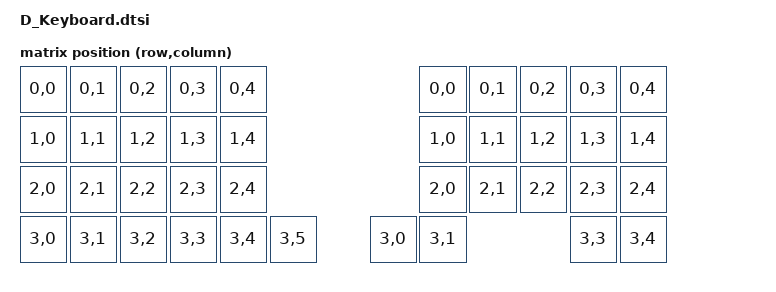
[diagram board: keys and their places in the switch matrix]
#include <dt-bindings/zmk/matrix_transform.h>
#include <input/processors.dtsi>
#include <dt-bindings/zmk/input_transform.h>
#include <physical_layouts.dtsi>

/ {
    chosen {
        zmk,kscan = &kscan0;
        zmk,matrix_transform = &default_transform;
        zmk,physical-layout = &default_layout;
    };

    default_transform: keymap_transform_0 {
        compatible = "zmk,matrix-transform";
        columns = <6>; // 片側の物理最大列数(左手の6列)に合わせる
        rows = <4>;
        map = <
            /* 左手 (Col 0-4) */                       /* 右手 (Col 0-4 + offset 6) */
            RC(0,0) RC(0,1) RC(0,2) RC(0,3) RC(0,4)                    RC(0,0) RC(0,1) RC(0,2) RC(0,3) RC(0,4) 
            RC(1,0) RC(1,1) RC(1,2) RC(1,3) RC(1,4)                    RC(1,0) RC(1,1) RC(1,2) RC(1,3) RC(1,4) 
            RC(2,0) RC(2,1) RC(2,2) RC(2,3) RC(2,4)                    RC(2,0) RC(2,1) RC(2,2) RC(2,3) RC(2,4) 
            RC(3,0) RC(3,1) RC(3,2) RC(3,3) RC(3,4) RC(3,5)    RC(3,0) RC(3,1)                 RC(3,3) RC(3,4)
        >;
    };

    kscan0: kscan {
        compatible = "zmk,kscan-gpio-matrix";
        label = "KSCAN";
        diode-direction = "col2row";
        wakeup-source;
    };

   default_layout: default_layout {
        compatible = "zmk,physical-layout";
        display-name = "default layout";
        transform = <&default_transform>;
        kscan = <&kscan0>;

        keys  //                     w   h    x    y     rot    rx    ry
            = <&key_physical_attrs 100 100    0  100       0     0     0>
            , <&key_physical_attrs 100 100  100  100       0     0     0>
            , <&key_physical_attrs 100 100  200  100       0     0     0>
            , <&key_physical_attrs 100 100  300  100       0     0     0>
            , <&key_physical_attrs 100 100  400  100       0     0     0>
            , <&key_physical_attrs 100 100  800  100       0     0     0>
            , <&key_physical_attrs 100 100  900  100       0     0     0>
            , <&key_physical_attrs 100 100 1000  100       0     0     0>
            , <&key_physical_attrs 100 100 1100  100       0     0     0>
            , <&key_physical_attrs 100 100 1200  100       0     0     0>
            , <&key_physical_attrs 100 100    0  200       0     0     0>
            , <&key_physical_attrs 100 100  100  200       0     0     0>
            , <&key_physical_attrs 100 100  200  200       0     0     0>
            , <&key_physical_attrs 100 100  300  200       0     0     0>
            , <&key_physical_attrs 100 100  400  200       0     0     0>
            , <&key_physical_attrs 100 100  800  200       0     0     0>
            , <&key_physical_attrs 100 100  900  200       0     0     0>
            , <&key_physical_attrs 100 100 1000  200       0     0     0>
            , <&key_physical_attrs 100 100 1100  200       0     0     0>
            , <&key_physical_attrs 100 100 1200  200       0     0     0>
            , <&key_physical_attrs 100 100    0  300       0     0     0>
            , <&key_physical_attrs 100 100  100  300       0     0     0>
            , <&key_physical_attrs 100 100  200  300       0     0     0>
            , <&key_physical_attrs 100 100  300  300       0     0     0>
            , <&key_physical_attrs 100 100  400  300       0     0     0>
            , <&key_physical_attrs 100 100  800  300       0     0     0>
            , <&key_physical_attrs 100 100  900  300       0     0     0>
            , <&key_physical_attrs 100 100 1000  300       0     0     0>
            , <&key_physical_attrs 100 100 1100  300       0     0     0>
            , <&key_physical_attrs 100 100 1200  300       0     0     0>
            , <&key_physical_attrs 100 100    0  400       0     0     0>
            , <&key_physical_attrs 100 100  100  400       0     0     0>
            , <&key_physical_attrs 100 100  200  400       0     0     0>
            , <&key_physical_attrs 100 100  300  400       0     0     0>
            , <&key_physical_attrs 100 100  400  400       0     0     0>
            , <&key_physical_attrs 100 100  500  400       0     0     0>
            , <&key_physical_attrs 100 100  700  400       0     0     0>
            , <&key_physical_attrs 100 100  800  400       0     0     0>
            , <&key_physical_attrs 100 100 1100  400       0     0     0>
            , <&key_physical_attrs 100 100 1200  400       0     0     0>
            ;
    };
};
